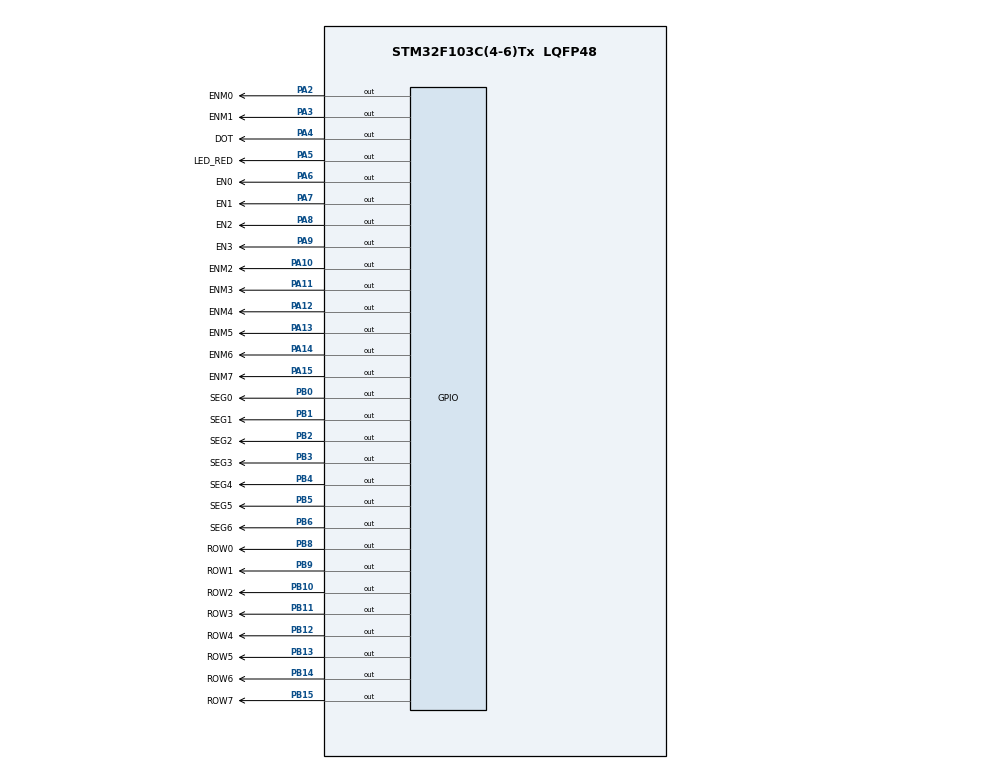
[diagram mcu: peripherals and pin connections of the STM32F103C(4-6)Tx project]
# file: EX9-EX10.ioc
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Mcu.Family=STM32F1
Mcu.Name=STM32F103C(4-6)Tx
Mcu.Package=LQFP48
NVIC.PriorityGroup=NVIC_PRIORITYGROUP_4
NVIC.TIM2_IRQn=true\:0\:0\:false\:false\:true\:true\:true\:true
PA10.GPIO_Label=ENM2
PA10.Signal=GPIO_Output
PA11.GPIO_Label=ENM3
PA11.Signal=GPIO_Output
PA12.GPIO_Label=ENM4
PA12.Signal=GPIO_Output
PA13.GPIO_Label=ENM5
PA13.Signal=GPIO_Output
PA14.GPIO_Label=ENM6
PA14.Signal=GPIO_Output
PA15.GPIO_Label=ENM7
PA15.Signal=GPIO_Output
PA2.GPIO_Label=ENM0
PA2.Signal=GPIO_Output
PA3.GPIO_Label=ENM1
PA3.Signal=GPIO_Output
PA4.GPIO_Label=DOT
PA4.Signal=GPIO_Output
PA5.GPIO_Label=LED_RED
PA5.Signal=GPIO_Output
PA6.GPIO_Label=EN0
PA6.Signal=GPIO_Output
PA7.GPIO_Label=EN1
PA7.Signal=GPIO_Output
PA8.GPIO_Label=EN2
PA8.Signal=GPIO_Output
PA9.GPIO_Label=EN3
PA9.Signal=GPIO_Output
PB0.GPIO_Label=SEG0
PB0.Signal=GPIO_Output
PB1.GPIO_Label=SEG1
PB1.Signal=GPIO_Output
PB10.GPIO_Label=ROW2
PB10.Signal=GPIO_Output
PB11.GPIO_Label=ROW3
PB11.Signal=GPIO_Output
PB12.GPIO_Label=ROW4
PB12.Signal=GPIO_Output
PB13.GPIO_Label=ROW5
PB13.Signal=GPIO_Output
PB14.GPIO_Label=ROW6
PB14.Signal=GPIO_Output
PB15.GPIO_Label=ROW7
PB15.Signal=GPIO_Output
PB2.GPIO_Label=SEG2
PB2.Signal=GPIO_Output
PB3.GPIO_Label=SEG3
PB3.Signal=GPIO_Output
PB4.GPIO_Label=SEG4
PB4.Signal=GPIO_Output
PB5.GPIO_Label=SEG5
PB5.Signal=GPIO_Output
PB6.GPIO_Label=SEG6
PB6.Signal=GPIO_Output
PB8.GPIO_Label=ROW0
PB8.Signal=GPIO_Output
PB9.GPIO_Label=ROW1
PB9.Signal=GPIO_Output
ProjectManager.HeapSize=0x200
ProjectManager.StackSize=0x400
ProjectManager.TargetToolchain=STM32CubeIDE
RCC.APB1Freq_Value=8000000
RCC.APB2Freq_Value=8000000
TIM2.Period=9
TIM2.Prescaler=7999
VP_TIM2_VS_ClockSourceINT.Mode=Internal
board=custom

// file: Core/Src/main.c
/* USER CODE BEGIN Header */
/**
  ******************************************************************************
  * @file           : main.c
  * @brief          : Main program body
  ******************************************************************************
  * @attention
  *
  * Copyright (c) 2023 STMicroelectronics.
  * All rights reserved.
  *
  * This software is licensed under terms that can be found in the LICENSE file
  * in the root directory of this software component.
  * If no LICENSE file comes with this software, it is provided AS-IS.
  *
  ******************************************************************************
  */
/* USER CODE END Header */
#include "main.h"

/* USER CODE BEGIN Includes */
#include "software_timer.h"
/* USER CODE END Includes */

TIM_HandleTypeDef htim2;

void SystemClock_Config(void);
static void MX_GPIO_Init(void);
static void MX_TIM2_Init(void);

/* USER CODE BEGIN 0 */
// Define the pins for each segment (PB0 to PB6)
const uint8_t sevenSegPatterns[10] = {
    0b00111111, // 0
    0b00000110, // 1
    0b01011011, // 2
    0b01001111, // 3
    0b01100110, // 4
    0b01101101, // 5
    0b01111101, // 6
    0b00000111, // 7
    0b01111111, // 8
    0b01101111  // 9
};

void display7SEG(int digit) {
    // Set the appropriate pins based on the digit pattern
    HAL_GPIO_WritePin(GPIOB, GPIO_PIN_0, ((sevenSegPatterns[digit] >> 0) & 1) ^ 1);
    HAL_GPIO_WritePin(GPIOB, GPIO_PIN_1, ((sevenSegPatterns[digit] >> 1) & 1) ^ 1);
    HAL_GPIO_WritePin(GPIOB, GPIO_PIN_2, ((sevenSegPatterns[digit] >> 2) & 1) ^ 1);
    HAL_GPIO_WritePin(GPIOB, GPIO_PIN_3, ((sevenSegPatterns[digit] >> 3) & 1) ^ 1);
    HAL_GPIO_WritePin(GPIOB, GPIO_PIN_4, ((sevenSegPatterns[digit] >> 4) & 1) ^ 1);
    HAL_GPIO_WritePin(GPIOB, GPIO_PIN_5, ((sevenSegPatterns[digit] >> 5) & 1) ^ 1);
    HAL_GPIO_WritePin(GPIOB, GPIO_PIN_6, ((sevenSegPatterns[digit] >> 6) & 1) ^ 1);
}

//EX 3:
const int MAX_LED = 4;
int index_led = 0;
int led_buffer [4] = {1 , 2 , 3 , 4};
void update7SEG (int index){
	switch (index){
	case 0:
		// Display the first 7 SEG with led_buffer [0]
		HAL_GPIO_WritePin(GPIOA, GPIO_PIN_6, 0);
		HAL_GPIO_WritePin(GPIOA, GPIO_PIN_7, 1);
		HAL_GPIO_WritePin(GPIOA, GPIO_PIN_8, 1);
		HAL_GPIO_WritePin(GPIOA, GPIO_PIN_9, 1);
		display7SEG(led_buffer[index]);
		break ;
	case 1:
		// Display the first 7 SEG with led_buffer [1]
		HAL_GPIO_WritePin(GPIOA, GPIO_PIN_6, 1);
		HAL_GPIO_WritePin(GPIOA, GPIO_PIN_7, 0);
		HAL_GPIO_WritePin(GPIOA, GPIO_PIN_8, 1);
		HAL_GPIO_WritePin(GPIOA, GPIO_PIN_9, 1);
		display7SEG(led_buffer[index]);
		break ;
	case 2:
		// Display the first 7 SEG with led_buffer [2]
		HAL_GPIO_WritePin(GPIOA, GPIO_PIN_6, 1);
		HAL_GPIO_WritePin(GPIOA, GPIO_PIN_7, 1);
		HAL_GPIO_WritePin(GPIOA, GPIO_PIN_8, 0);
		HAL_GPIO_WritePin(GPIOA, GPIO_PIN_9, 1);
		display7SEG(led_buffer[index]);
		break ;
	case 3:
		HAL_GPIO_WritePin(GPIOA, GPIO_PIN_6, 1);
		HAL_GPIO_WritePin(GPIOA, GPIO_PIN_7, 1);
		HAL_GPIO_WritePin(GPIOA, GPIO_PIN_8, 1);
		HAL_GPIO_WritePin(GPIOA, GPIO_PIN_9, 0);
		display7SEG(led_buffer[index]);
		// Display the first 7 SEG with led_buffer [3]
		break ;
	default:
		break;
	}
}

//EX5
int hour = 15 , minute = 8 , second = 50;
void updateClockBuffer(){
	led_buffer[0] = hour / 10;
	led_buffer[1] = hour % 10;
	led_buffer[2] = minute / 10;
	led_buffer[3] = minute % 10;
}

//EX9
const int MAX_LED_MATRIX = 8;
int index_led_matrix = 0;
uint8_t matrix_buffer[8] = {0x01, 0x02, 0x03, 0x04, 0x05, 0x06, 0x07, 0x08};

void displayLEDMatrix(uint8_t value){
	switch(value){
	case 0x00:
		HAL_GPIO_WritePin(ROW0_GPIO_Port, ROW0_Pin, 1);
		HAL_GPIO_WritePin(ROW1_GPIO_Port, ROW1_Pin, 1);
		HAL_GPIO_WritePin(ROW2_GPIO_Port, ROW2_Pin, 1);
		HAL_GPIO_WritePin(ROW3_GPIO_Port, ROW3_Pin, 1);
		HAL_GPIO_WritePin(ROW4_GPIO_Port, ROW4_Pin, 1);
		HAL_GPIO_WritePin(ROW5_GPIO_Port, ROW5_Pin, 1);
		HAL_GPIO_WritePin(ROW6_GPIO_Port, ROW6_Pin, 1);
		HAL_GPIO_WritePin(ROW7_GPIO_Port, ROW7_Pin, 1);
		break;
	case 0xc0:
		HAL_GPIO_WritePin(ROW0_GPIO_Port, ROW0_Pin, 1);
		HAL_GPIO_WritePin(ROW1_GPIO_Port, ROW1_Pin, 1);
		HAL_GPIO_WritePin(ROW2_GPIO_Port, ROW2_Pin, 0);
		HAL_GPIO_WritePin(ROW3_GPIO_Port, ROW3_Pin, 0);
		HAL_GPIO_WritePin(ROW4_GPIO_Port, ROW4_Pin, 0);
		HAL_GPIO_WritePin(ROW5_GPIO_Port, ROW5_Pin, 0);
		HAL_GPIO_WritePin(ROW6_GPIO_Port, ROW6_Pin, 0);
		HAL_GPIO_WritePin(ROW7_GPIO_Port, ROW7_Pin, 0);
		break;
	case 0x80:
		HAL_GPIO_WritePin(ROW0_GPIO_Port, ROW0_Pin, 1);
		HAL_GPIO_WritePin(ROW1_GPIO_Port, ROW1_Pin, 0);
		HAL_GPIO_WritePin(ROW2_GPIO_Port, ROW2_Pin, 0);
		HAL_GPIO_WritePin(ROW3_GPIO_Port, ROW3_Pin, 0);
		HAL_GPIO_WritePin(ROW4_GPIO_Port, ROW4_Pin, 0);
		HAL_GPIO_WritePin(ROW5_GPIO_Port, ROW5_Pin, 0);
		HAL_GPIO_WritePin(ROW6_GPIO_Port, ROW6_Pin, 0);
		HAL_GPIO_WritePin(ROW7_GPIO_Port, ROW7_Pin, 0);
		break;
	case 0x33:
		HAL_GPIO_WritePin(ROW0_GPIO_Port, ROW0_Pin, 0);
		HAL_GPIO_WritePin(ROW1_GPIO_Port, ROW1_Pin, 0);
		HAL_GPIO_WritePin(ROW2_GPIO_Port, ROW2_Pin, 1);
		HAL_GPIO_WritePin(ROW3_GPIO_Port, ROW3_Pin, 1);
		HAL_GPIO_WritePin(ROW4_GPIO_Port, ROW4_Pin, 0);
		HAL_GPIO_WritePin(ROW5_GPIO_Port, ROW5_Pin, 0);
		HAL_GPIO_WritePin(ROW6_GPIO_Port, ROW6_Pin, 1);
		HAL_GPIO_WritePin(ROW7_GPIO_Port, ROW7_Pin, 1);
		break;
	default:
		HAL_GPIO_WritePin(ROW0_GPIO_Port, ROW0_Pin, 1);
		HAL_GPIO_WritePin(ROW1_GPIO_Port, ROW1_Pin, 1);
		HAL_GPIO_WritePin(ROW2_GPIO_Port, ROW2_Pin, 1);
		HAL_GPIO_WritePin(ROW3_GPIO_Port, ROW3_Pin, 1);
		HAL_GPIO_WritePin(ROW4_GPIO_Port, ROW4_Pin, 1);
		HAL_GPIO_WritePin(ROW5_GPIO_Port, ROW5_Pin, 1);
		HAL_GPIO_WritePin(ROW6_GPIO_Port, ROW6_Pin, 1);
		HAL_GPIO_WritePin(ROW7_GPIO_Port, ROW7_Pin, 1);
		break;
	}
}

void updateLEDMatrix(int index){
	switch(index) {
		case 0:
			HAL_GPIO_WritePin(ENM0_GPIO_Port, ENM0_Pin, 0);
			HAL_GPIO_WritePin(ENM1_GPIO_Port, ENM1_Pin, 1);
			HAL_GPIO_WritePin(ENM2_GPIO_Port, ENM2_Pin, 1);
			HAL_GPIO_WritePin(ENM3_GPIO_Port, ENM3_Pin, 1);
			HAL_GPIO_WritePin(ENM4_GPIO_Port, ENM4_Pin, 1);
			HAL_GPIO_WritePin(ENM5_GPIO_Port, ENM5_Pin, 1);
			HAL_GPIO_WritePin(ENM6_GPIO_Port, ENM6_Pin, 1);
			HAL_GPIO_WritePin(ENM7_GPIO_Port, ENM7_Pin, 1);
			break;
		case 1:
			HAL_GPIO_WritePin(ENM0_GPIO_Port, ENM0_Pin, 1);
			HAL_GPIO_WritePin(ENM1_GPIO_Port, ENM1_Pin, 0);
			HAL_GPIO_WritePin(ENM2_GPIO_Port, ENM2_Pin, 1);
			HAL_GPIO_WritePin(ENM3_GPIO_Port, ENM3_Pin, 1);
			HAL_GPIO_WritePin(ENM4_GPIO_Port, ENM4_Pin, 1);
			HAL_GPIO_WritePin(ENM5_GPIO_Port, ENM5_Pin, 1);
			HAL_GPIO_WritePin(ENM6_GPIO_Port, ENM6_Pin, 1);
			HAL_GPIO_WritePin(ENM7_GPIO_Port, ENM7_Pin, 1);
			break;
		case 2:
			HAL_GPIO_WritePin(ENM0_GPIO_Port, ENM0_Pin, 1);
			HAL_GPIO_WritePin(ENM1_GPIO_Port, ENM1_Pin, 1);
			HAL_GPIO_WritePin(ENM2_GPIO_Port, ENM2_Pin, 0);
			HAL_GPIO_WritePin(ENM3_GPIO_Port, ENM3_Pin, 1);
			HAL_GPIO_WritePin(ENM4_GPIO_Port, ENM4_Pin, 1);
			HAL_GPIO_WritePin(ENM5_GPIO_Port, ENM5_Pin, 1);
			HAL_GPIO_WritePin(ENM6_GPIO_Port, ENM6_Pin, 1);
			HAL_GPIO_WritePin(ENM7_GPIO_Port, ENM7_Pin, 1);
			break;
		case 3:
			HAL_GPIO_WritePin(ENM0_GPIO_Port, ENM0_Pin, 1);
			HAL_GPIO_WritePin(ENM1_GPIO_Port, ENM1_Pin, 1);
			HAL_GPIO_WritePin(ENM2_GPIO_Port, ENM2_Pin, 1);
			HAL_GPIO_WritePin(ENM3_GPIO_Port, ENM3_Pin, 0);
			HAL_GPIO_WritePin(ENM4_GPIO_Port, ENM4_Pin, 1);
			HAL_GPIO_WritePin(ENM5_GPIO_Port, ENM5_Pin, 1);
			HAL_GPIO_WritePin(ENM6_GPIO_Port, ENM6_Pin, 1);
			HAL_GPIO_WritePin(ENM7_GPIO_Port, ENM7_Pin, 1);
			break;
		case 4:
			HAL_GPIO_WritePin(ENM0_GPIO_Port, ENM0_Pin, 1);
			HAL_GPIO_WritePin(ENM1_GPIO_Port, ENM1_Pin, 1);
			HAL_GPIO_WritePin(ENM2_GPIO_Port, ENM2_Pin, 1);
			HAL_GPIO_WritePin(ENM3_GPIO_Port, ENM3_Pin, 1);
			HAL_GPIO_WritePin(ENM4_GPIO_Port, ENM4_Pin, 0);
			HAL_GPIO_WritePin(ENM5_GPIO_Port, ENM5_Pin, 1);
			HAL_GPIO_WritePin(ENM6_GPIO_Port, ENM6_Pin, 1);
			HAL_GPIO_WritePin(ENM7_GPIO_Port, ENM7_Pin, 1);
			break;
		case 5:
			HAL_GPIO_WritePin(ENM0_GPIO_Port, ENM0_Pin, 1);
			HAL_GPIO_WritePin(ENM1_GPIO_Port, ENM1_Pin, 1);
			HAL_GPIO_WritePin(ENM2_GPIO_Port, ENM2_Pin, 1);
			HAL_GPIO_WritePin(ENM3_GPIO_Port, ENM3_Pin, 1);
			HAL_GPIO_WritePin(ENM4_GPIO_Port, ENM4_Pin, 1);
			HAL_GPIO_WritePin(ENM5_GPIO_Port, ENM5_Pin, 0);
			HAL_GPIO_WritePin(ENM6_GPIO_Port, ENM6_Pin, 1);
			HAL_GPIO_WritePin(ENM7_GPIO_Port, ENM7_Pin, 1);
			break;
		case 6:
			HAL_GPIO_WritePin(ENM0_GPIO_Port, ENM0_Pin, 1);
			HAL_GPIO_WritePin(ENM1_GPIO_Port, ENM1_Pin, 1);
			HAL_GPIO_WritePin(ENM2_GPIO_Port, ENM2_Pin, 1);
			HAL_GPIO_WritePin(ENM3_GPIO_Port, ENM3_Pin, 1);
			HAL_GPIO_WritePin(ENM4_GPIO_Port, ENM4_Pin, 1);
			HAL_GPIO_WritePin(ENM5_GPIO_Port, ENM5_Pin, 1);
			HAL_GPIO_WritePin(ENM6_GPIO_Port, ENM6_Pin, 0);
			HAL_GPIO_WritePin(ENM7_GPIO_Port, ENM7_Pin, 1);
			break;
		case 7:
			HAL_GPIO_WritePin(ENM0_GPIO_Port, ENM0_Pin, 1);
			HAL_GPIO_WritePin(ENM1_GPIO_Port, ENM1_Pin, 1);
			HAL_GPIO_WritePin(ENM2_GPIO_Port, ENM2_Pin, 1);
			HAL_GPIO_WritePin(ENM3_GPIO_Port, ENM3_Pin, 1);
			HAL_GPIO_WritePin(ENM4_GPIO_Port, ENM4_Pin, 1);
			HAL_GPIO_WritePin(ENM5_GPIO_Port, ENM5_Pin, 1);
			HAL_GPIO_WritePin(ENM6_GPIO_Port, ENM6_Pin, 1);
			HAL_GPIO_WritePin(ENM7_GPIO_Port, ENM7_Pin, 0);
			break;
		default:
			HAL_GPIO_WritePin(ENM0_GPIO_Port, ENM0_Pin, 1);
			HAL_GPIO_WritePin(ENM1_GPIO_Port, ENM1_Pin, 1);
			HAL_GPIO_WritePin(ENM2_GPIO_Port, ENM2_Pin, 1);
			HAL_GPIO_WritePin(ENM3_GPIO_Port, ENM3_Pin, 1);
			HAL_GPIO_WritePin(ENM4_GPIO_Port, ENM4_Pin, 1);
			HAL_GPIO_WritePin(ENM5_GPIO_Port, ENM5_Pin, 1);
			HAL_GPIO_WritePin(ENM6_GPIO_Port, ENM6_Pin, 1);
			HAL_GPIO_WritePin(ENM7_GPIO_Port, ENM7_Pin, 1);
			break;
	}
	displayLEDMatrix(matrix_buffer[index]);
}

void shiftLeft() {
	uint8_t first = matrix_buffer[0];
	for (int i = 0; i < 7; ++i){
		matrix_buffer[i] = matrix_buffer[i+1];
	}
	matrix_buffer[7] = first;
}
/* USER CODE END 0 */

int main(void)
{

  /* MCU Configuration--------------------------------------------------------*/

  /* Reset of all peripherals, Initializes the Flash interface and the Systick. */
  HAL_Init();

  /* Configure the system clock */
  SystemClock_Config();

  /* Initialize all configured peripherals */
  MX_GPIO_Init();
  MX_TIM2_Init();
  /* USER CODE BEGIN 2 */
  HAL_TIM_Base_Start_IT(&htim2);
  /* USER CODE END 2 */

  /* Infinite loop */
  /* USER CODE BEGIN WHILE */
  /*
    * timer0_flag and setTimer0 is using to set timer for LED RED, switch every second
    * timer1_flag and setTimer1 is using to set timer for LED 7SEG, switch every 250ms
    * timer2_flag and setTimer2 is using to set timer for the colon, display every 500ms
    */

    //setTimer for first time timer_flag change to 1
    setTimer0(100);
    setTimer1(100);
    setTimer2(100); //timer for colon, display every 500ms
    setTimer3(100);
    setTimer4(100);

    /*
     * A:
     * 0 0 0 1 1 0 0 0
     * 0 0 1 1 1 1 0 0
     * 0 1 1 0 0 1 1 0
     * 0 1 1 0 0 1 1 0
     * 0 1 1 1 1 1 1 0
     * 0 1 1 1 1 1 1 0
     * 0 1 1 0 0 1 1 0
     * 0 1 1 0 0 1 1 0
     */

    matrix_buffer[0] = 0x00;
    matrix_buffer[1] = 0xc0;
    matrix_buffer[2] = 0x80;
    matrix_buffer[3] = 0x33;
    matrix_buffer[4] = 0x33;
    matrix_buffer[5] = 0x80;
    matrix_buffer[6] = 0xc0;
    matrix_buffer[7] = 0x00;

    while(1){
      /* USER CODE END WHILE */
  	  if ( timer0_flag == 1){
  		  HAL_GPIO_TogglePin(LED_RED_GPIO_Port, LED_RED_Pin);
  		  setTimer0(1000) ;
  		  second++;
  		  if(second >= 60){
  			  second = 0;
  			  minute++;
  		  }

  		  if(minute >= 60){
  			  minute = 0;
  			  hour++;
  		  }

  		  if(hour >= 24){
  			  hour = 0;
  		  }
  		  updateClockBuffer();
  	  }

  	  if(timer1_flag == 1){
  		  update7SEG(index_led++);
  		  if(index_led >= MAX_LED) index_led = 0;
  		  setTimer1(1000);
  	  }

  	  if(timer2_flag == 1){
  		  HAL_GPIO_TogglePin(DOT_GPIO_Port, DOT_Pin) ;
  		  setTimer2(1000) ;
  	  }

  	  if(timer3_flag == 1){
  		  updateLEDMatrix(index_led_matrix++);
  		  if (index_led_matrix >= MAX_LED_MATRIX) index_led_matrix = 0;
  		  setTimer3(50);
  	  }

  	  if(timer4_flag == 1){
  		  shiftLeft();
  		  setTimer4(8*50);
  	  }
    /* USER CODE END WHILE */

  }
}

void SystemClock_Config(void)
{
  RCC_OscInitTypeDef RCC_OscInitStruct = {0};
  RCC_ClkInitTypeDef RCC_ClkInitStruct = {0};

  /** Initializes the RCC Oscillators according to the specified parameters
  * in the RCC_OscInitTypeDef structure.
  */
  RCC_OscInitStruct.OscillatorType = RCC_OSCILLATORTYPE_HSI;
  RCC_OscInitStruct.HSIState = RCC_HSI_ON;
  RCC_OscInitStruct.HSICalibrationValue = RCC_HSICALIBRATION_DEFAULT;
  RCC_OscInitStruct.PLL.PLLState = RCC_PLL_NONE;
  if (HAL_RCC_OscConfig(&RCC_OscInitStruct) != HAL_OK)
  {
    Error_Handler();
  }

  /** Initializes the CPU, AHB and APB buses clocks
  */
  RCC_ClkInitStruct.ClockType = RCC_CLOCKTYPE_HCLK|RCC_CLOCKTYPE_SYSCLK
                              |RCC_CLOCKTYPE_PCLK1|RCC_CLOCKTYPE_PCLK2;
  RCC_ClkInitStruct.SYSCLKSource = RCC_SYSCLKSOURCE_HSI;
  RCC_ClkInitStruct.AHBCLKDivider = RCC_SYSCLK_DIV1;
  RCC_ClkInitStruct.APB1CLKDivider = RCC_HCLK_DIV1;
  RCC_ClkInitStruct.APB2CLKDivider = RCC_HCLK_DIV1;

  if (HAL_RCC_ClockConfig(&RCC_ClkInitStruct, FLASH_LATENCY_0) != HAL_OK)
  {
    Error_Handler();
  }
}

static void MX_TIM2_Init(void)
{

  TIM_ClockConfigTypeDef sClockSourceConfig = {0};
  TIM_MasterConfigTypeDef sMasterConfig = {0};

  htim2.Instance = TIM2;
  htim2.Init.Prescaler = 7999;
  htim2.Init.CounterMode = TIM_COUNTERMODE_UP;
  htim2.Init.Period = 9;
  htim2.Init.ClockDivision = TIM_CLOCKDIVISION_DIV1;
  htim2.Init.AutoReloadPreload = TIM_AUTORELOAD_PRELOAD_DISABLE;
  if (HAL_TIM_Base_Init(&htim2) != HAL_OK)
  {
    Error_Handler();
  }
  sClockSourceConfig.ClockSource = TIM_CLOCKSOURCE_INTERNAL;
  if (HAL_TIM_ConfigClockSource(&htim2, &sClockSourceConfig) != HAL_OK)
  {
    Error_Handler();
  }
  sMasterConfig.MasterOutputTrigger = TIM_TRGO_RESET;
  sMasterConfig.MasterSlaveMode = TIM_MASTERSLAVEMODE_DISABLE;
  if (HAL_TIMEx_MasterConfigSynchronization(&htim2, &sMasterConfig) != HAL_OK)
  {
    Error_Handler();
  }

}

static void MX_GPIO_Init(void)
{
  GPIO_InitTypeDef GPIO_InitStruct = {0};

  /* GPIO Ports Clock Enable */
  __HAL_RCC_GPIOA_CLK_ENABLE();
  __HAL_RCC_GPIOB_CLK_ENABLE();

  /*Configure GPIO pin Output Level */
  HAL_GPIO_WritePin(GPIOA, ENM0_Pin|ENM1_Pin|DOT_Pin|LED_RED_Pin
                          |EN0_Pin|EN1_Pin|EN2_Pin|EN3_Pin
                          |ENM2_Pin|ENM3_Pin|ENM4_Pin|ENM5_Pin
                          |ENM6_Pin|ENM7_Pin, GPIO_PIN_RESET);

  /*Configure GPIO pin Output Level */
  HAL_GPIO_WritePin(GPIOB, SEG0_Pin|SEG1_Pin|SEG2_Pin|ROW2_Pin
                          |ROW3_Pin|ROW4_Pin|ROW5_Pin|ROW6_Pin
                          |ROW7_Pin|SEG3_Pin|SEG4_Pin|SEG5_Pin
                          |SEG6_Pin|ROW0_Pin|ROW1_Pin, GPIO_PIN_RESET);

  /*Configure GPIO pins : ENM0_Pin ENM1_Pin DOT_Pin LED_RED_Pin
                           EN0_Pin EN1_Pin EN2_Pin EN3_Pin
                           ENM2_Pin ENM3_Pin ENM4_Pin ENM5_Pin
                           ENM6_Pin ENM7_Pin */
  GPIO_InitStruct.Pin = ENM0_Pin|ENM1_Pin|DOT_Pin|LED_RED_Pin
                          |EN0_Pin|EN1_Pin|EN2_Pin|EN3_Pin
                          |ENM2_Pin|ENM3_Pin|ENM4_Pin|ENM5_Pin
                          |ENM6_Pin|ENM7_Pin;
  GPIO_InitStruct.Mode = GPIO_MODE_OUTPUT_PP;
  GPIO_InitStruct.Pull = GPIO_NOPULL;
  GPIO_InitStruct.Speed = GPIO_SPEED_FREQ_LOW;
  HAL_GPIO_Init(GPIOA, &GPIO_InitStruct);

  /*Configure GPIO pins : SEG0_Pin SEG1_Pin SEG2_Pin ROW2_Pin
                           ROW3_Pin ROW4_Pin ROW5_Pin ROW6_Pin
                           ROW7_Pin SEG3_Pin SEG4_Pin SEG5_Pin
                           SEG6_Pin ROW0_Pin ROW1_Pin */
  GPIO_InitStruct.Pin = SEG0_Pin|SEG1_Pin|SEG2_Pin|ROW2_Pin
                          |ROW3_Pin|ROW4_Pin|ROW5_Pin|ROW6_Pin
                          |ROW7_Pin|SEG3_Pin|SEG4_Pin|SEG5_Pin
                          |SEG6_Pin|ROW0_Pin|ROW1_Pin;
  GPIO_InitStruct.Mode = GPIO_MODE_OUTPUT_PP;
  GPIO_InitStruct.Pull = GPIO_NOPULL;
  GPIO_InitStruct.Speed = GPIO_SPEED_FREQ_LOW;
  HAL_GPIO_Init(GPIOB, &GPIO_InitStruct);

}

/* USER CODE BEGIN 4 */
void HAL_TIM_PeriodElapsedCallback ( TIM_HandleTypeDef * htim ){
	timerRun();
}
/* USER CODE END 4 */

void Error_Handler(void)
{
  __disable_irq();
  while (1)
  {
  }
}
